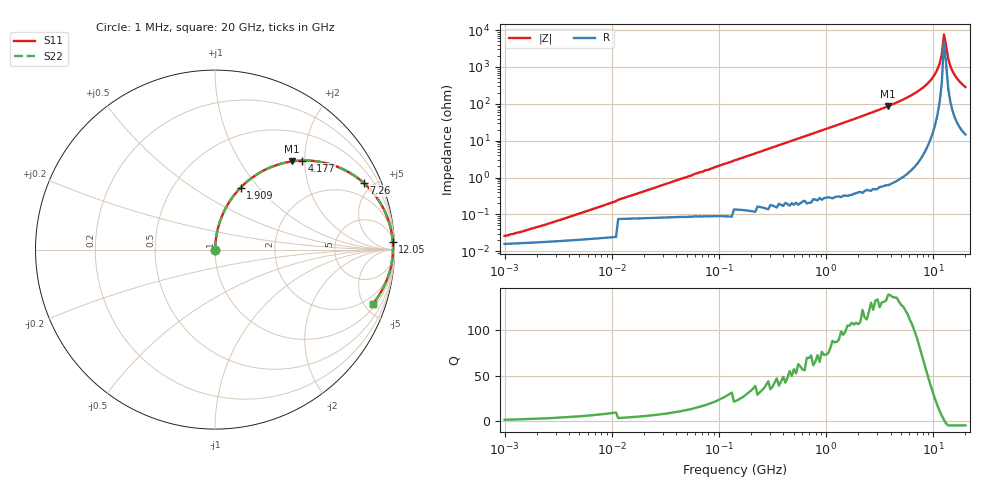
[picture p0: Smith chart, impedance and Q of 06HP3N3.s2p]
# MHz S MA R 50
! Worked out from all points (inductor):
!   216 points, 1 MHz to 20 GHz, reference 50 ohm
!   read as one part in series: L = 3.29 nH near 2.755 MHz
!   highest Q = 137 at 3.809 GHz (marker M1), where L = 3.62 nH
!   self-resonance near 12.62 GHz
!   S11 on the Smith chart (normalised r, x): 1 MHz: 1.00, +0.00; 1.909 GHz: 1.01, +0.81; 4.177 GHz: 1.01, +1.94; 7.26 GHz: 1.05, +4.44; 12.05 GHz: 9, +43; 20 GHz: 1.30, -5.71
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1  0.000378 33.2  1 -0.0  1 -0.0  0.000378 33.2
2.09  0.0005569 51.0  1 -0.0  1 -0.0  0.0005569 51.0
5.25  0.001164 69.1  1 -0.1  1 -0.1  0.001164 69.1
27.564  0.005747 83.3  0.999 -0.3  0.999 -0.3  0.005747 83.3
144.716  0.03 86.1  0.998 -1.7  0.998 -1.7  0.03 86.1
759.783  0.156 80.2  0.985 -9.0  0.985 -9.0  0.156 80.2
1908.911  0.374 67.5  0.924 -22.0  0.924 -22.0  0.374 67.5
3809.408  0.653 48.8  0.753 -40.7  0.753 -40.7  0.653 48.8
3988.984  0.673 47.3  0.735 -42.3  0.735 -42.3  0.673 47.3
4177.025  0.694 45.7  0.715 -43.9  0.715 -43.9  0.694 45.7
5506.756  0.811 35.3  0.578 -54.2  0.578 -54.2  0.811 35.3
7259.799  0.908 24.1  0.409 -65.2  0.409 -65.2  0.908 24.1
8728.583  0.954 16.3  0.281 -72.6  0.281 -72.6  0.954 16.3
10022.09  0.977 10.4  0.181 -77.7  0.181 -77.7  0.977 10.4
10989.24  0.987 6.5  0.113 -80.1  0.113 -80.1  0.987 6.5
11507.27  0.99 4.5  0.079 -80.3  0.079 -80.3  0.99 4.5
12049.73  0.991 2.5  0.045 -77.7  0.045 -77.7  0.991 2.5
12617.75  0.992 0.6  0.013 -49.4  0.013 -49.4  0.992 0.6
13835.4  0.989 -3.4  0.06 77.6  0.06 77.6  0.989 -3.4
14487.6  0.986 -5.4  0.094 78.5  0.094 78.5  0.986 -5.4
16634.54  0.968 -11.2  0.195 75.1  0.195 75.1  0.968 -11.2
20000  0.929 -18.9  0.325 68.1  0.325 68.1  0.929 -18.9
